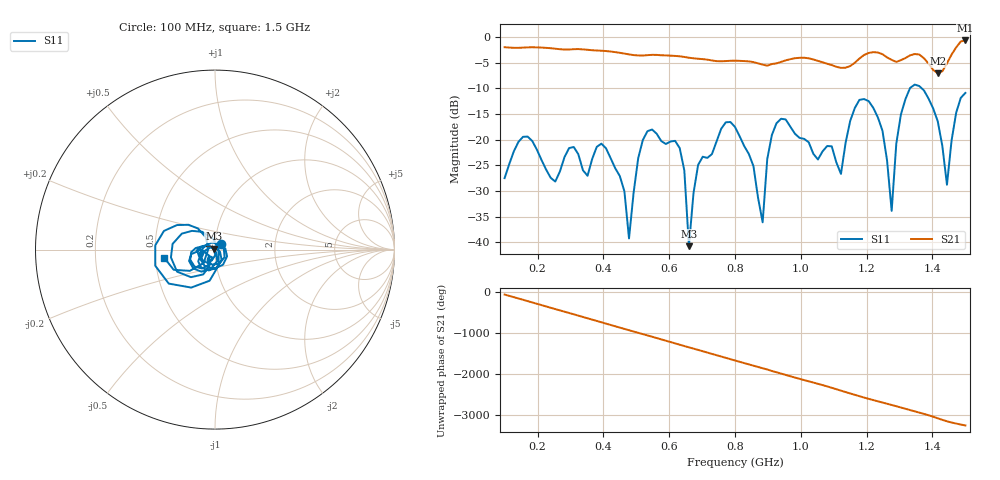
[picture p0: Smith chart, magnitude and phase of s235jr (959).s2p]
! NanoVNA-App
! Date: 2025-09-25 15:11:38
! Start: 100MHz Stop: 1,5GHz Points: 101
! S-Parameter data: F S11 S21 S12 S22
# Hz S RI R 50
!  Frequency  S11_Real  S11_Imag  S21_Real  S21_Imag  S12_Real  S12_Imag  S22_Real  S22_Imag
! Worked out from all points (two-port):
!   101 points, 100 MHz to 1.5 GHz, reference 50 ohm
!   highest |S21| = -0.65 dB at 1.5 GHz (marker M1); lowest = -7.0 dB at 1.416 GHz (marker M2)
!   |S21| within 3 dB of the highest: start of sweep to 614.5 MHz; 1.189 GHz to 1.255 GHz (66.6 MHz wide, 5.45 % of centre) (the widest 2 of 4)
!   lowest |S11| = -40.7 dB at 660 MHz (marker M3), VSWR 1.02, Z = 49.3 + j0.539 ohm
!   |S11| at or under -10 dB: start of sweep to 1.331 GHz; 1.368 GHz to end of sweep
!   S12 and S22 are empty: the file has one direction only
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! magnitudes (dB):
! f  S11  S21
! 100 MHz  -27.5  -2.0
! 156 MHz  -19.4  -2.0
! 338 MHz  -25.9  -2.4
! 408 MHz  -21.6  -2.7
! 478 MHz  -39.2  -3.4
! 520 MHz  -20.0  -3.6
! 576 MHz  -20.3  -3.5
! 632 MHz  -21.6  -3.7
! 660 MHz  -40.7  -4.0
! 688 MHz  -24.9  -4.2
! 800 MHz  -17.5  -4.6
! 884 MHz  -36.1  -5.4
! 926 MHz  -16.8  -5.1
! 1.038 GHz  -22.7  -4.4
! 1.122 GHz  -26.6  -6.0
! 1.206 GHz  -12.5  -3.1
! 1.248 GHz  -18.2  -3.3
! 1.276 GHz  -33.9  -4.4
! 1.332 GHz  -9.9  -3.5
! 1.416 GHz  -16.4  -7.0
! 1.444 GHz  -28.8  -5.1
! 1.5 GHz  -10.9  -0.7
